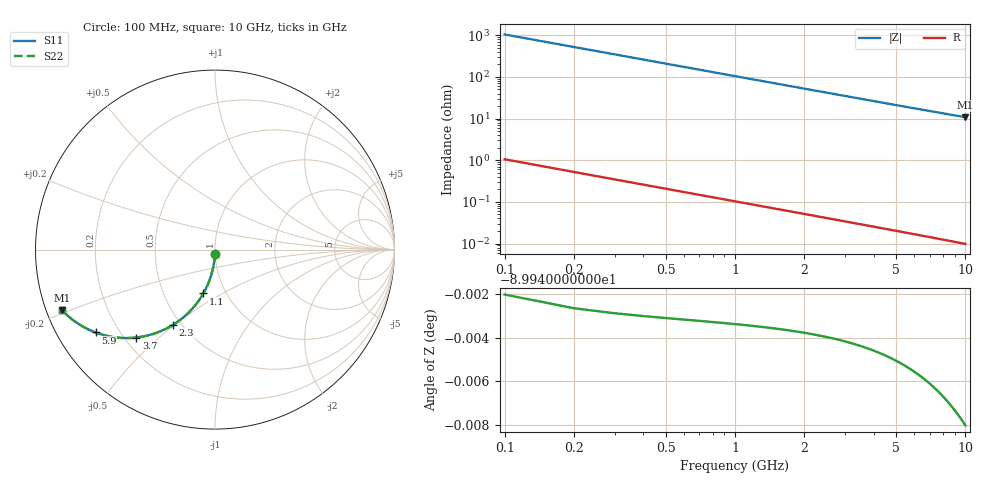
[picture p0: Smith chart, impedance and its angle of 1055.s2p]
# Hz S RI R 50.00
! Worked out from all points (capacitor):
!   100 points, 100 MHz to 10 GHz, reference 50 ohm
!   read as one part in shunt: C = 1.52 pF near 100 MHz
!   lowest |Z| = 10.8 ohm at 10 GHz (marker M1)
!   S11 on the Smith chart (normalised r, x): 100 MHz: 1.00, -0.05; 1.1 GHz: 0.78, -0.41; 2.3 GHz: 0.46, -0.49; 3.7 GHz: 0.25, -0.42; 5.9 GHz: 0.12, -0.31; 10 GHz: 0.05, -0.19
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1e8  -0.000564 -0.0238  0.9994 -0.0241  0.9994 -0.0241  -0.000564 -0.0238
2e8  -0.0023 -0.0474  0.9976 -0.0481  0.9976 -0.0481  -0.0023 -0.0474
3e8  -0.00516 -0.0709  0.9948 -0.0719  0.9948 -0.0719  -0.00516 -0.0709
4e8  -0.00914 -0.0942  0.9908 -0.0954  0.9908 -0.0954  -0.00914 -0.0942
5e8  -0.0142 -0.1171  0.9857 -0.1187  0.9857 -0.1187  -0.0142 -0.1171
6e8  -0.0203 -0.1397  0.9796 -0.1416  0.9796 -0.1416  -0.0203 -0.1397
7e8  -0.0274 -0.1617  0.9725 -0.1639  0.9725 -0.1639  -0.0274 -0.1617
9e8  -0.0445 -0.2043  0.9555 -0.2071  0.9555 -0.2071  -0.0445 -0.2043
1.1e9  -0.0649 -0.2442  0.935 -0.2477  0.935 -0.2477  -0.0649 -0.2442
1.4e9  -0.101 -0.2987  0.8989 -0.3031  0.8989 -0.3031  -0.101 -0.2987
1.8e9  -0.1565 -0.3601  0.8434 -0.3658  0.8434 -0.3658  -0.1565 -0.3601
2.3e9  -0.2324 -0.4182  0.7675 -0.4255  0.7675 -0.4255  -0.2324 -0.4182
2.8e9  -0.3096 -0.4574  0.6903 -0.4663  0.6903 -0.4663  -0.3096 -0.4574
3.4e9  -0.3979 -0.4835  0.602 -0.4944  0.602 -0.4944  -0.3979 -0.4835
3.7e9  -0.439 -0.4899  0.5609 -0.5017  0.5609 -0.5017  -0.439 -0.4899
4.4e9  -0.5252 -0.4918  0.4746 -0.5059  0.4746 -0.5059  -0.5252 -0.4918
5.1e9  -0.5978 -0.4816  0.402 -0.498  0.402 -0.498  -0.5978 -0.4816
5.9e9  -0.6656 -0.4617  0.3342 -0.4808  0.3342 -0.4808  -0.6656 -0.4617
6.7e9  -0.7197 -0.4376  0.2799 -0.4595  0.2799 -0.4595  -0.7197 -0.4376
7.5e9  -0.7631 -0.4123  0.2365 -0.4368  0.2365 -0.4368  -0.7631 -0.4123
8.4e9  -0.8019 -0.3841  0.1977 -0.4118  0.1977 -0.4118  -0.8019 -0.3841
1e10  -0.852 -0.3376  0.1474 -0.3709  0.1474 -0.3709  -0.852 -0.3376
